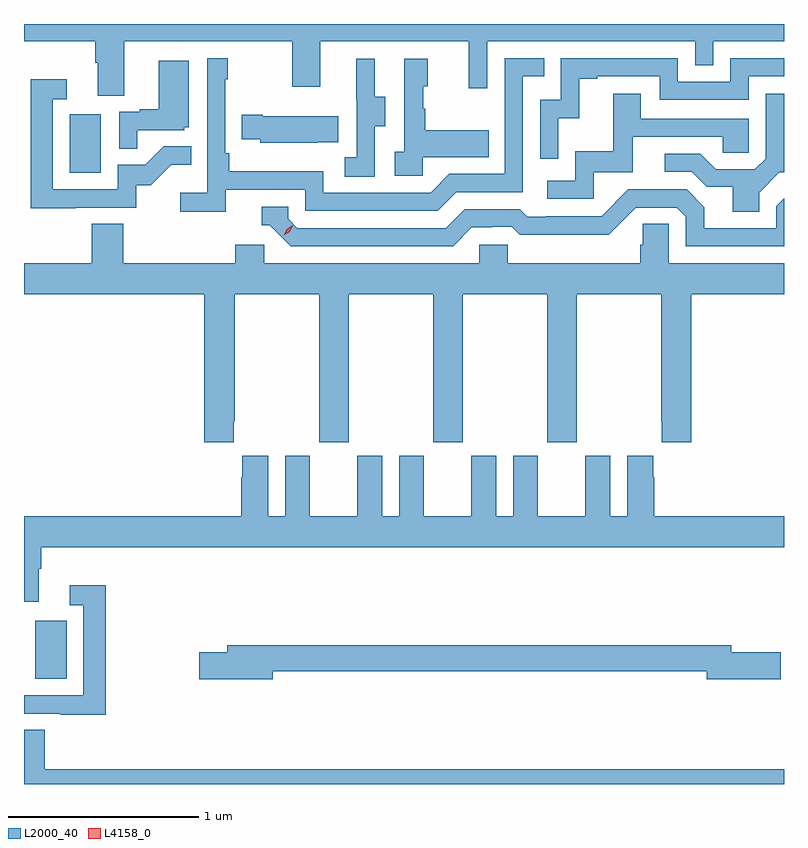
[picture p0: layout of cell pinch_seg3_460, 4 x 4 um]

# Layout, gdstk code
import gdstk
lib = gdstk.Library(unit=1e-6, precision=1e-09)
def R(c, l, rs):  # rectangles x0, y0, x1, y1
    for r in rs: c.add(gdstk.rectangle(r[:2], r[2:], *l))
def P(c, l, *ps):  # polygons
    for p in ps: c.add(gdstk.Polygon(p, *l))
L2000_40 = (2000, 40)
L4158_0 = (4158, 0)

pinch_seg3_460 = lib.new_cell('pinch_seg3_460')
R(pinch_seg3_460, L2000_40, [(890.192,682.908,890.356,683.215), (890.372,685.572,890.536,685.879)])
P(pinch_seg3_460, L2000_40, [(890.659,686.264),(891.544,686.264),(891.544,686.025),(891.691,686.025),(891.691,686.264),(892.472,686.264),(892.472,686.016),(892.569,686.016),(892.569,686.264),(893.664,686.264),(893.664,686.137),(893.76,686.137),(893.76,686.264),(894.132,686.264),(894.132,686.355),(890.132,686.355),(890.132,686.264),(890.507,686.264),(890.507,686.152),(890.519,686.152),(890.519,685.978),(890.659,685.978)],
  [(891.194,685.482),(891.612,685.482),(891.612,685.371),(892.309,685.371),(892.408,685.47),(892.758,685.47),(892.758,686.079),(892.871,686.079),(892.871,686.175),(892.662,686.175),(892.662,685.566),(892.371,685.566),(892.272,685.467),(891.708,685.467),(891.708,685.579),(891.212,685.579),(891.212,685.675),(891.192,685.675),(891.192,686.063),(891.205,686.063),(891.205,686.176),(891.096,686.176),(891.096,685.468),(890.955,685.468),(890.955,685.366),(891.194,685.366)],
  [(892.944,685.859),(893.054,685.859),(893.054,686.067),(893.149,686.067),(893.149,686.079),(893.478,686.079),(893.478,685.956),(893.946,685.956),(893.946,686.079),(894.132,686.079),(894.132,686.175),(893.85,686.175),(893.85,686.052),(893.574,686.052),(893.574,686.175),(892.956,686.175),(892.956,685.956),(892.848,685.956),(892.848,685.647),(892.944,685.647)],
  [(891.978,685.816),(892.033,685.816),(892.033,685.971),(891.979,685.971),(891.979,686.173),(891.881,686.173),(891.881,685.959),(891.882,685.959),(891.882,685.655),(891.819,685.655),(891.819,685.552),(891.978,685.552)],
  [(892.23,685.655),(892.577,685.655),(892.577,685.795),(892.243,685.795),(892.243,685.91),(892.233,685.91),(892.233,686.028),(892.258,686.028),(892.258,686.173),(892.134,686.173),(892.134,685.682),(892.083,685.682),(892.083,685.557),(892.23,685.557)],
  [(890.729,685.797),(890.976,685.797),(890.976,685.812),(890.998,685.812),(890.998,686.161),(890.84,686.161),(890.84,685.906),(890.741,685.906),(890.741,685.893),(890.634,685.893),(890.634,685.699),(890.729,685.699)],
  [(890.405,685.389),(890.724,685.389),(890.724,685.506),(890.8,685.506),(890.907,685.613),(891.011,685.613),(891.011,685.712),(890.867,685.712),(890.769,685.614),(890.625,685.614),(890.625,685.485),(890.283,685.485),(890.283,685.959),(890.356,685.959),(890.356,686.065),(890.167,686.065),(890.167,685.384),(890.405,685.384)],
  [(894.001,685.468),(894.108,685.575),(894.132,685.575),(894.132,685.987),(894.036,685.987),(894.036,685.647),(893.979,685.59),(893.773,685.59),(893.692,685.671),(893.505,685.671),(893.505,685.578),(893.646,685.578),(893.726,685.498),(893.861,685.498),(893.861,685.366),(894.001,685.366)],
  [(893.13,685.575),(893.335,685.575),(893.335,685.761),(893.809,685.761),(893.809,685.677),(893.946,685.677),(893.946,685.857),(893.377,685.857),(893.377,685.987),(893.233,685.987),(893.233,685.684),(893.034,685.684),(893.034,685.53),(892.887,685.53),(892.887,685.434),(893.13,685.434)],
  [(891.677,685.733),(891.785,685.733),(891.785,685.87),(891.388,685.87),(891.388,685.878),(891.277,685.878),(891.277,685.748),(891.375,685.748),(891.375,685.73),(891.677,685.73)],
  [(892.489,685.284),(892.596,685.284),(892.596,685.287),(892.699,685.287),(892.741,685.245),(892.974,685.245),(892.974,685.247),(893.21,685.247),(893.352,685.389),(893.568,685.389),(893.616,685.341),(893.616,685.185),(894.132,685.185),(894.132,685.437),(894.09,685.395),(894.09,685.281),(893.713,685.281),(893.713,685.391),(893.619,685.485),(893.313,685.485),(893.172,685.344),(892.879,685.344),(892.879,685.341),(892.78,685.341),(892.741,685.38),(892.452,685.38),(892.353,685.281),(891.57,685.281),(891.522,685.329),(891.522,685.392),(891.383,685.392),(891.383,685.296),(891.426,685.296),(891.537,685.185),(892.39,685.185)],
  [(891.396,685.194),(891.245,685.194),(891.245,685.096),(890.654,685.096),(890.654,685.304),(890.489,685.304),(890.489,685.096),(890.132,685.096),(890.132,684.932),(891.08,684.932),(891.08,684.153),(891.235,684.153),(891.235,684.265),(891.24,684.265),(891.24,684.932),(891.685,684.932),(891.685,684.153),(891.84,684.153),(891.84,684.932),(892.285,684.932),(892.285,684.153),(892.44,684.153),(892.44,684.932),(892.885,684.932),(892.885,684.153),(893.04,684.153),(893.04,684.932),(893.485,684.932),(893.485,684.265),(893.489,684.265),(893.489,684.153),(893.645,684.153),(893.645,684.932),(894.132,684.932),(894.132,685.096),(893.526,685.096),(893.526,685.304),(893.389,685.304),(893.389,685.194),(893.375,685.194),(893.375,685.096),(892.677,685.096),(892.677,685.194),(892.527,685.194),(892.527,685.096),(891.396,685.096)],
  [(890.209,683.488),(890.222,683.488),(890.222,683.6),(894.132,683.6),(894.132,683.764),(893.45,683.764),(893.45,683.969),(893.443,683.969),(893.443,684.082),(893.306,684.082),(893.306,683.764),(893.218,683.764),(893.218,684.082),(893.087,684.082),(893.087,683.764),(892.837,683.764),(892.837,684.082),(892.706,684.082),(892.706,683.764),(892.618,683.764),(892.618,684.082),(892.487,684.082),(892.487,683.764),(892.237,683.764),(892.237,684.082),(892.106,684.082),(892.106,683.764),(892.018,683.764),(892.018,684.082),(891.887,684.082),(891.887,683.764),(891.637,683.764),(891.637,684.082),(891.506,684.082),(891.506,683.764),(891.418,683.764),(891.418,684.082),(891.281,684.082),(891.281,683.969),(891.275,683.969),(891.275,683.764),(890.132,683.764),(890.132,683.314),(890.209,683.314)],
  [(890.561,683.401),(890.373,683.401),(890.373,683.295),(890.445,683.295),(890.445,682.821),(890.132,682.821),(890.132,682.725),(890.323,682.725),(890.323,682.72),(890.561,682.72)],
  [(891.442,682.948),(893.726,682.948),(893.726,682.906),(894.115,682.906),(894.115,683.048),(893.854,683.048),(893.854,683.084),(891.203,683.084),(891.203,683.048),(891.054,683.048),(891.054,682.906),(891.442,682.906)],
  [(894.132,682.432),(890.24,682.432),(890.24,682.64),(890.132,682.64),(890.132,682.355),(894.132,682.355)])
P(pinch_seg3_460, L4158_0, [(891.499,685.242),(891.499,685.242),(891.515,685.275),(891.546,685.295),(891.546,685.295),(891.546,685.295),(891.53,685.262),(891.5,685.242)])

lib.write_gds('pinch_seg3_460.gds')
